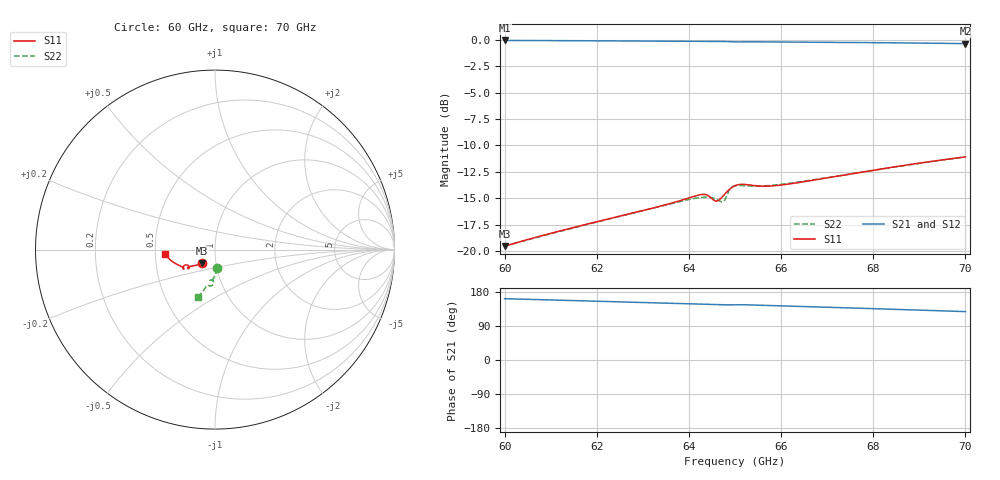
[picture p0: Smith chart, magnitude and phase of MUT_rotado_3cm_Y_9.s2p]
! TOUCHSTONE file generated by CST MICROWAVE STUDIO
! Date and time: Wed Feb 21 09:08:54 2024
! Project name: material_prueba.cst
! Parameters = {Y=2}
! Header version: 2018
! Port assignment regex: !\s*Touchstone port\s*([0-9]+)\s*=\s*(CST MWS port|CST DS port)\s*([0-9]+|Zmin|Zmax)\s*\(\"(.*)\"\)(\s*mode\s*([0-9]+))?.*
! Touchstone port assignment:
! Touchstone port 1 = CST MWS port 1 ("")
! Touchstone port 2 = CST MWS port 2 ("")
# GHz S MA R 376.7
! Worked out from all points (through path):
!   1001 points, 60 GHz to 70 GHz, reference 376.7 ohm
!   highest |S21| = -0.05 dB at 60 GHz (marker M1); lowest = -0.4 dB at 70 GHz (marker M2)
!   group delay of S21, straight-line fit = 9.22 ps
!   lowest |S11| = -19.5 dB at 60 GHz (marker M3), VSWR 1.24, Z = 322 - j49.8 ohm
!   |S11| at or under -10 dB: start of sweep to end of sweep
!   |S22| runs from -19.5 to -11.1 dB; largest |S21 - S12| = 0.0044
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60  0.1053 -133.5  0.9944 161.8  0.9942 161.8  0.1054 -82.6
61.67  0.132 -139.4  0.9915 156.3  0.9912 156.3  0.1314 -88.1
63.34  0.1622 -145.2  0.9868 150.7  0.9869 150.7  0.162 -93.3
63.97  0.1775 -146.8  0.9852 148.4  0.9856 148.4  0.1748 -95.9
64.29  0.1853 -145.7  0.9849 147.2  0.9855 147.0  0.1795 -97.9
64.4  0.1837 -144.6  0.985 146.7  0.9856 146.6  0.1799 -98.7
64.54  0.174 -145.6  0.9851 146.1  0.9856 146.0  0.1778 -99.4
64.59  0.1723 -147.4  0.985 145.9  0.9853 145.9  0.176 -99.4
64.65  0.1742 -149.8  0.9847 145.7  0.9846 145.7  0.1731 -98.8
64.73  0.1811 -151.9  0.9838 145.5  0.9831 145.7  0.1706 -96.1
64.78  0.1862 -152.5  0.9827 145.5  0.9819 145.8  0.1746 -93.4
64.84  0.1922 -152.6  0.9812 145.6  0.9805 145.8  0.1871 -92.1
64.9  0.1974 -152.2  0.9798 145.7  0.9795 145.9  0.1979 -93.7
64.95  0.201 -151.7  0.9792 145.9  0.9791 146.0  0.2022 -95.5
65  0.2037 -151.0  0.9791 146.0  0.9788 146.0  0.2039 -97.1
65.12  0.2068 -149.4  0.9797 145.9  0.9789 145.8  0.2041 -99.5
65.28  0.2057 -148.1  0.9801 145.5  0.979 145.4  0.2031 -101.1
65.54  0.2027 -148.5  0.9795 144.5  0.9788 144.5  0.203 -102.2
65.8  0.2032 -150.0  0.9786 143.5  0.9782 143.5  0.2046 -102.8
66.67  0.2159 -155.3  0.9757 140.4  0.9756 140.4  0.2169 -104.0
68.34  0.2479 -164.7  0.9696 134.3  0.9695 134.2  0.2475 -106.8
70  0.279 -175.0  0.9603 127.7  0.9603 127.7  0.2791 -109.6
